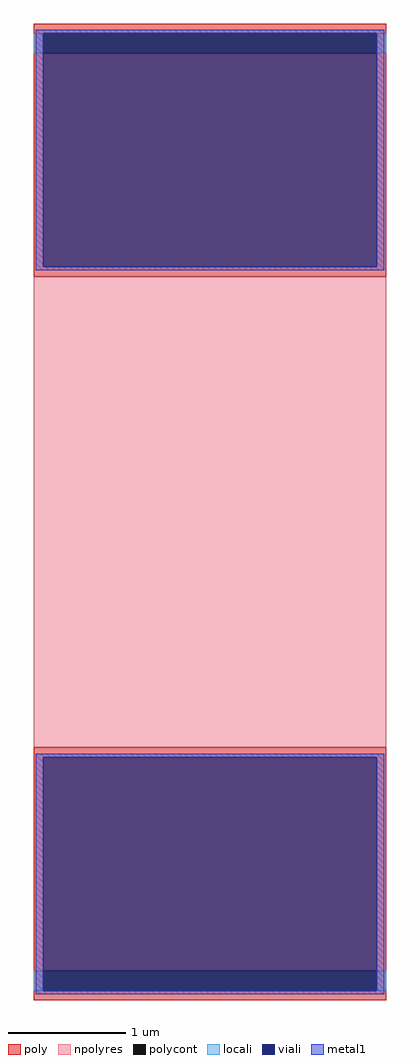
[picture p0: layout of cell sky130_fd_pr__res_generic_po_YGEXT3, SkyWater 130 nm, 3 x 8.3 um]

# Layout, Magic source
magic
tech sky130A
magscale 1 2
<< poly >>
rect -300 814 300 830
rect -300 780 -284 814
rect 284 780 300 814
rect -300 400 300 780
rect -300 -780 300 -400
rect -300 -814 -284 -780
rect 284 -814 300 -780
rect -300 -830 300 -814
<< polycont >>
rect -284 780 284 814
rect -284 -814 284 -780
<< npolyres >>
rect -300 -400 300 400
<< locali >>
rect -300 780 -284 814
rect 284 780 300 814
rect -300 -814 -284 -780
rect 284 -814 300 -780
<< viali >>
rect -284 780 284 814
rect -284 417 284 780
rect -284 -780 284 -417
rect -284 -814 284 -780
<< metal1 >>
rect -296 814 296 820
rect -296 417 -284 814
rect 284 417 296 814
rect -296 411 296 417
rect -296 -417 296 -411
rect -296 -814 -284 -417
rect 284 -814 296 -417
rect -296 -820 296 -814
<< properties >>
string gencell sky130_fd_pr__res_generic_po
string library sky130
string parameters w 3.0 l 4.0 m 1 nx 1 wmin 0.330 lmin 1.650 rho 48.2 val 64.266 dummy 0 dw 0.0 term 0.0 sterm 0.0 caplen 0.4 snake 0 guard 0 glc 1 grc 1 gtc 1 gbc 1 roverlap 0 endcov 100 full_metal 1 hv_guard 0 n_guard 0 vias 1 viagb 0 viagt 0 viagl 0 viagr 0
<< end >>
